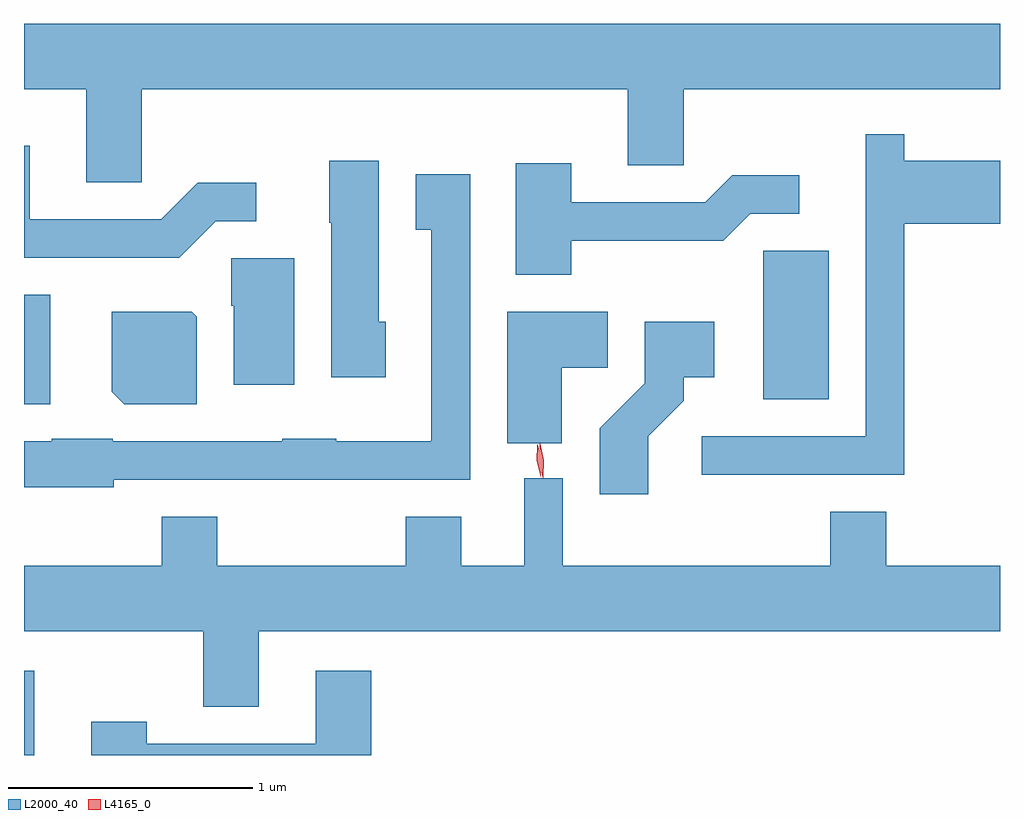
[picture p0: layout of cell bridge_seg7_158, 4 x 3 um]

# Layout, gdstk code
import gdstk
lib = gdstk.Library(unit=1e-6, precision=1e-09)
def R(c, l, rs):  # rectangles x0, y0, x1, y1
    for r in rs: c.add(gdstk.rectangle(r[:2], r[2:], *l))
def P(c, l, *ps):  # polygons
    for p in ps: c.add(gdstk.Polygon(p, *l))
L2000_40 = (2000, 40)
L4165_0 = (4165, 0)

bridge_seg7_158 = lib.new_cell('bridge_seg7_158')
R(bridge_seg7_158, L2000_40, [(1616.716,1724.908,1616.759,1725.254), (1616.716,1726.346,1616.824,1726.794), (1619.746,1726.366,1620.014,1726.974)])
P(bridge_seg7_158, L2000_40, [(1617.199,1727.636),(1619.191,1727.636),(1619.191,1727.326),(1619.419,1727.326),(1619.419,1727.636),(1620.716,1727.636),(1620.716,1727.904),(1616.716,1727.904),(1616.716,1727.636),(1616.971,1727.636),(1616.971,1727.256),(1617.199,1727.256)],
  [(1620.324,1727.086),(1620.716,1727.086),(1620.716,1727.344),(1620.324,1727.344),(1620.324,1727.453),(1620.166,1727.453),(1620.166,1726.214),(1619.493,1726.214),(1619.493,1726.056),(1620.324,1726.056)],
  [(1617.502,1727.096),(1617.668,1727.096),(1617.668,1727.254),(1617.429,1727.254),(1617.279,1727.104),(1616.739,1727.104),(1616.739,1727.404),(1616.716,1727.404),(1616.716,1726.946),(1617.352,1726.946)],
  [(1618.199,1726.684),(1618.169,1726.684),(1618.169,1727.344),(1617.966,1727.344),(1617.966,1727.09),(1617.976,1727.09),(1617.976,1726.456),(1618.199,1726.456)],
  [(1618.959,1727.016),(1619.582,1727.016),(1619.692,1727.126),(1619.893,1727.126),(1619.893,1727.284),(1619.619,1727.284),(1619.509,1727.174),(1618.959,1727.174),(1618.959,1727.334),(1618.731,1727.334),(1618.731,1726.876),(1618.959,1726.876)],
  [(1617.084,1726.036),(1618.544,1726.036),(1618.544,1727.289),(1618.321,1727.289),(1618.321,1727.061),(1618.386,1727.061),(1618.386,1726.194),(1617.995,1726.194),(1617.995,1726.204),(1617.775,1726.204),(1617.775,1726.194),(1617.08,1726.194),(1617.08,1726.204),(1616.83,1726.204),(1616.83,1726.194),(1616.716,1726.194),(1616.716,1726.006),(1617.084,1726.006)],
  [(1617.824,1726.944),(1617.566,1726.944),(1617.566,1726.75),(1617.576,1726.75),(1617.576,1726.426),(1617.824,1726.426)],
  [(1617.424,1726.704),(1617.404,1726.724),(1617.076,1726.724),(1617.076,1726.397),(1617.127,1726.346),(1617.424,1726.346)],
  [(1618.919,1726.496),(1619.109,1726.496),(1619.109,1726.724),(1618.696,1726.724),(1618.696,1726.186),(1618.919,1726.186)],
  [(1619.274,1726.214),(1619.419,1726.359),(1619.419,1726.456),(1619.544,1726.456),(1619.544,1726.684),(1619.261,1726.684),(1619.261,1726.432),(1619.076,1726.247),(1619.076,1725.976),(1619.274,1725.976)],
  [(1617.679,1725.416),(1620.716,1725.416),(1620.716,1725.684),(1620.249,1725.684),(1620.249,1725.904),(1620.021,1725.904),(1620.021,1725.684),(1618.924,1725.684),(1618.924,1726.043),(1618.766,1726.043),(1618.766,1725.684),(1618.509,1725.684),(1618.509,1725.884),(1618.281,1725.884),(1618.281,1725.684),(1617.509,1725.684),(1617.509,1725.884),(1617.281,1725.884),(1617.281,1725.684),(1616.716,1725.684),(1616.716,1725.416),(1617.451,1725.416),(1617.451,1725.106),(1617.679,1725.106)],
  [(1618.139,1725.254),(1617.911,1725.254),(1617.911,1724.954),(1617.219,1724.954),(1617.219,1725.044),(1616.991,1725.044),(1616.991,1724.908),(1618.139,1724.908)])
P(bridge_seg7_158, L4165_0, [(1618.844,1726.045),(1618.843,1726.046),(1618.828,1726.114),(1618.83,1726.183),(1618.831,1726.184),(1618.831,1726.183),(1618.847,1726.116),(1618.844,1726.046)],
  [(1618.833,1726.048),(1618.817,1726.113),(1618.82,1726.179),(1618.821,1726.18),(1618.821,1726.179),(1618.837,1726.115),(1618.834,1726.048),(1618.834,1726.048)])

lib.write_gds('bridge_seg7_158.gds')
